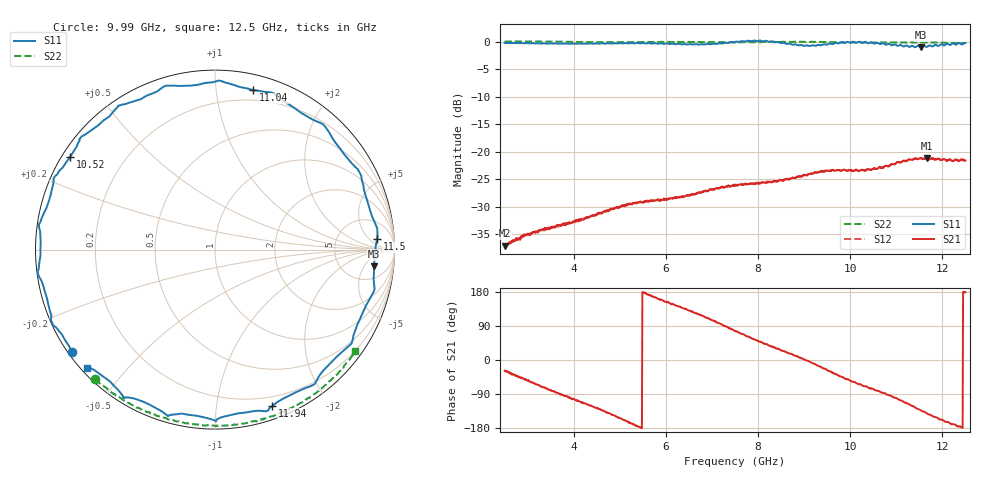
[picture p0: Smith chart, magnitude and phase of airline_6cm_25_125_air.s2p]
!Keysight Technologies N9950B: A.12.38
!Date: Friday, 14 April 2023 14:09:33
!Timezone: (UTC-06:00) Central Time (US & Canada)
!Model: N9950B
!Serial: MY61131330
!GPS Latitude:
!GPS Longitude:
!GPS TimeStamp: 0001-01-01 00:00:00Z
!GPS Seconds Since Last Read: 0
!CHECKSUM:1986026312
!Correction: S11(ON U)S21(ON U)S12(ON U)S22(ON U)
!S2P File: Measurements:S11,S21,S12,S22:
# Hz S DB R 50
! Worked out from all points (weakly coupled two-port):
!   1001 points, 2.5 GHz to 12.5 GHz, reference 50 ohm
!   highest |S21| = -21.11 dB at 11.66 GHz (marker M1); lowest = -37.1 dB at 2.51 GHz (marker M2)
!   lowest |S11| = -1.0 dB at 11.54 GHz (marker M3), VSWR 17.21, Z = 473 - j427 ohm
!   |S11| at or under -10 dB: nowhere
!   |S22| runs from -0.3 to 0.0 dB; largest |S21 - S12| = 0.0018
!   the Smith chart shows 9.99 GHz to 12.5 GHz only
!   S11 on the Smith chart (normalised r, x): 9.99 GHz: 0.01, -0.32; 10.52 GHz: 0.02, +0.29; 11.04 GHz: 0.12, +1.26; 11.5 GHz: 14, +9; 11.94 GHz: 0.11, -1.43; 12.5 GHz: 0.02, -0.39
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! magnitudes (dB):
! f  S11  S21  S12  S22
! 2.5 GHz  -0.2  -36.9  -37.1  0.0
! 2.51 GHz  -0.2  -37.1  -36.9  0.0
! 3.11 GHz  -0.3  -34.5  -34.6  0.0
! 4.17 GHz  -0.4  -32.4  -32.3  -0.1
! 5.18 GHz  -0.3  -29.4  -29.5  -0.1
! 5.84 GHz  -0.4  -28.7  -28.7  -0.1
! 6.28 GHz  -0.4  -28.3  -28.4  -0.1
! 6.83 GHz  -0.5  -27.2  -27.1  -0.1
! 7.5 GHz  -0.1  -26.1  -26.1  -0.2
! 8.16 GHz  0.1  -25.6  -25.6  -0.1
! 8.67 GHz  -0.4  -25.0  -25.0  0.0
! 9.17 GHz  -0.7  -24.0  -23.9  0.0
! 9.5 GHz  -0.5  -23.5  -23.4  -0.1
! 9.99 GHz  -0.2  -23.3  -23.4  -0.2
! 10.52 GHz  -0.4  -23.0  -23.0  -0.2
! 10.84 GHz  -0.4  -22.7  -22.6  -0.2
! 11.04 GHz  -0.8  -21.9  -21.8  -0.2
! 11.5 GHz  -0.9  -21.3  -21.2  -0.2
! 11.54 GHz  -1.0  -21.2  -21.2  -0.2
! 11.66 GHz  -1.0  -21.1  -21.1  -0.2
! 11.94 GHz  -0.6  -21.4  -21.4  -0.2
! 12.5 GHz  -0.2  -21.6  -21.5  -0.3
